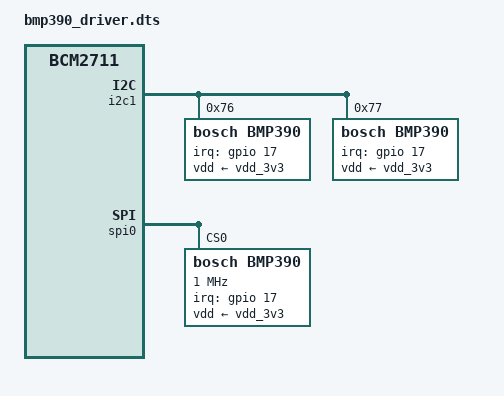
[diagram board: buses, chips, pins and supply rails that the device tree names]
/dts-v1/;
/plugin/;

/ {
    compatible = "brcm,bcm2835", "brcm,bcm2711";

    fragment@0 {
        target = <&i2c1>;
        __overlay__ {
            #address-cells = <1>;
            #size-cells = <0>;
            status = "okay";

            bmp390@76 {
                compatible = "bosch,bmp390";
                reg = <0x76>;  /* ADO low */
                interrupt-parent = <&gpio>;
                interrupts = <17 1>;  /* GPIO17 rising edge */
                vdd-supply = <&vdd_3v3>;  /* Assume regulator */
            };
            bmp390@77 {
                compatible = "bosch,bmp390";
                reg = <0x77>;  /* ADO high */
                interrupt-parent = <&gpio>;
                interrupts = <17 1>;
                vdd-supply = <&vdd_3v3>;
            };
        };
    };

    fragment@1 {
        target = <&spi0>;
        __overlay__ {
            #address-cells = <1>;
            #size-cells = <0>;
            status = "okay";

            bmp390@0 {
                compatible = "bosch,bmp390";
                reg = <0>;
                spi-max-frequency = <1000000>;
                interrupt-parent = <&gpio>;
                interrupts = <17 1>;
                vdd-supply = <&vdd_3v3>;
            };
        };
    };
};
